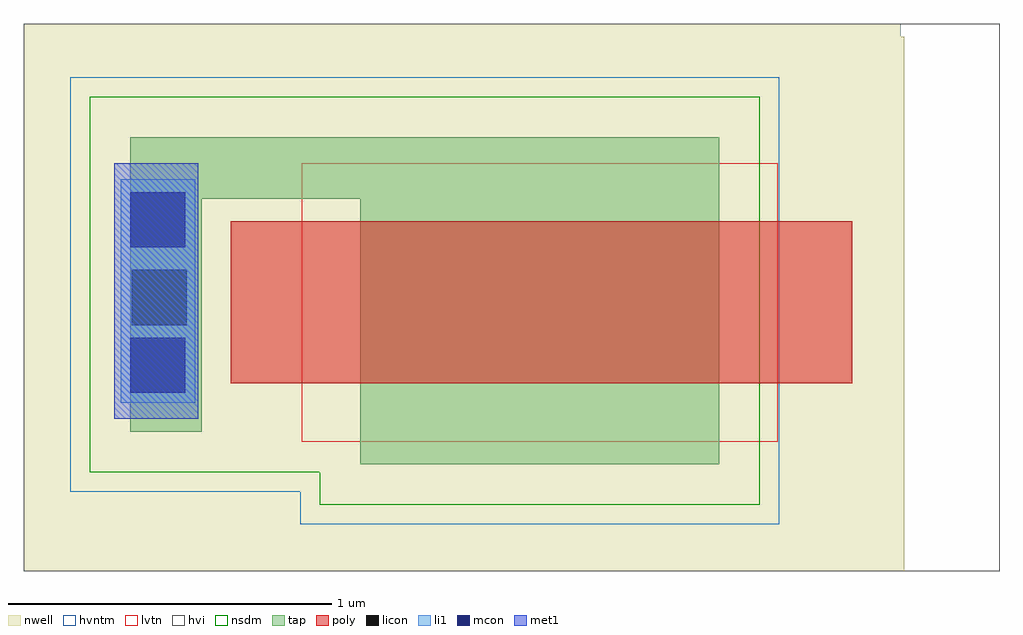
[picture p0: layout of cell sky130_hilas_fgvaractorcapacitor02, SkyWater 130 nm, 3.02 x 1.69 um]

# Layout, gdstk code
import gdstk
lib = gdstk.Library(unit=1e-6, precision=1e-09)
def R(c, l, rs):  # rectangles x0, y0, x1, y1
    for r in rs: c.add(gdstk.rectangle(r[:2], r[2:], *l))
nwell = (64, 20)
tap = (65, 44)
poly = (66, 20)
licon = (66, 44)
li1 = (67, 20)
mcon = (67, 44)
met1 = (68, 20)
hvi = (75, 20)
nsdm = (93, 44)
hvntm = (125, 20)
lvtn = (125, 44)

sky130_hilas_fgvaractorc = lib.new_cell('sky130_hilas_fgvaractorcapacitor02')
R(sky130_hilas_fgvaractorc, nwell, [(-10.05,-3.8,-7.33,-2.15), (-10.05,-2.15,-7.34,-2.11)])
R(sky130_hilas_fgvaractorc, tap, [(-9.01,-3.47,-7.9,-2.65), (-9.72,-3.37,-9.5,-2.65), (-9.72,-2.65,-7.9,-2.46)])
R(sky130_hilas_fgvaractorc, poly, [(-9.41,-3.22,-7.49,-2.72)])
R(sky130_hilas_fgvaractorc, licon, [(-9.715,-3.04,-9.545,-2.87)])
R(sky130_hilas_fgvaractorc, li1, [(-9.75,-3.28,-9.52,-2.59)])
R(sky130_hilas_fgvaractorc, mcon, [(-9.72,-3.25,-9.55,-3.08), (-9.72,-2.8,-9.55,-2.63)])
R(sky130_hilas_fgvaractorc, met1, [(-9.77,-3.33,-9.51,-2.54)])
R(sky130_hilas_fgvaractorc, hvi, [(-10.05,-3.8,-7.035,-2.11)])
R(sky130_hilas_fgvaractorc, nsdm, [(-9.135,-3.595,-7.775,-3.495), (-9.845,-3.495,-7.775,-2.335)])
R(sky130_hilas_fgvaractorc, hvntm, [(-9.195,-3.655,-7.715,-3.555), (-9.905,-3.555,-7.715,-2.275)])
R(sky130_hilas_fgvaractorc, lvtn, [(-9.19,-3.4,-7.72,-2.54)])

lib.write_gds('sky130_hilas_fgvaractorcapacitor02.gds')
